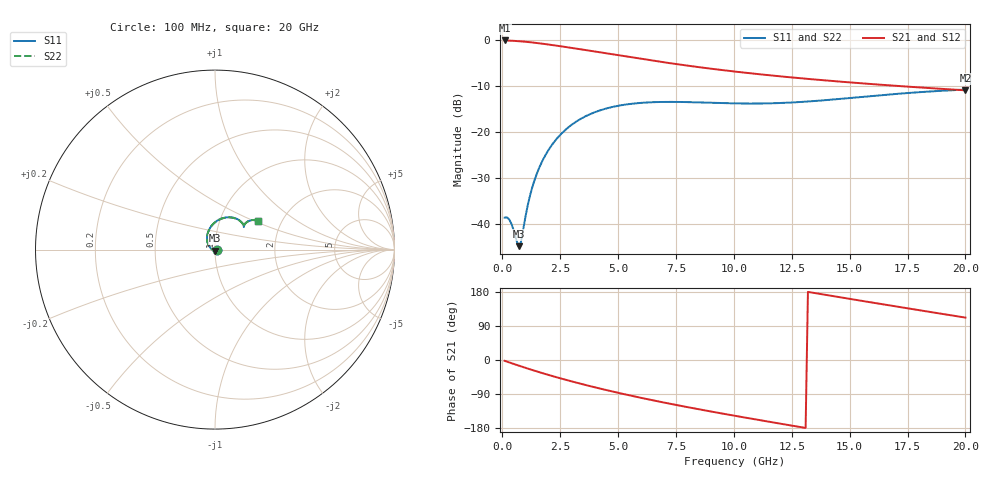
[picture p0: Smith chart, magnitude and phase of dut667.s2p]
! Touchstone file exported from HFSS 2024.1.0
!  File:  C:/UserFiles/LocalFiles/RDL_TSV_Batchsim/temp_RDL_TSV_667_1779813552.aedt
!  Generated:  12:52:07 AM May 27, 2026
!  Design:  RDL_TSV
!  Project:  temp_RDL_TSV_667_1779813552
!  Setup:  Setup1
!  Solution:  Sweep
! Variables:
!  dtsv = 9.35um
!  hbump = 3um
!  htsv = 86.54um
!  ldown = 560.16um
!  lrdl = 492.9um
!  p = 40
!  p1 = 51.1um
!  rhole = 10um
!  subl = 3652.08um
!  t = 450um
!  tdown = 4.83um
!  trdl = 4.31um
!  viad = 10um
!  wdown = 25.45um
!  wrdl = 28.35um
!  xbump = 18um
# GHz S MA R 50.000000
! Terminal data exported
! Port[1] = TM1_1_T1
! Port[2] = TM1_4_T1
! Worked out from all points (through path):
!   200 points, 100 MHz to 20 GHz, reference 50 ohm
!   highest |S21| = -0.11 dB at 100 MHz (marker M1); lowest = -10.9 dB at 20 GHz (marker M2)
!   group delay of S21, straight-line fit = 32.6 ps
!   lowest |S11| = -44.7 dB at 700 MHz (marker M3), VSWR 1.01, Z = 50 - j0.58 ohm
!   |S11| at or under -10 dB: start of sweep to end of sweep
!   |S22| runs from -44.7 to -10.8 dB; largest |S21 - S12| = 2.2e-14
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0.1  0.01181 -2.0  0.9876 -2.2  0.9876 -2.2  0.01181 -2.0
! Gamma 0 0 0 0
! Port Impedance 50 0 50 0
0.2  0.01193 -8.4  0.9856 -4.3  0.9856 -4.3  0.01193 -8.4
0.4  0.01008 -27.2  0.9807 -8.5  0.9807 -8.5  0.0101 -27.2
0.7  0.005803 -90.4  0.9704 -14.7  0.9704 -14.7  0.005818 -90.1
0.8  0.006366 -127.0  0.9661 -16.7  0.9661 -16.7  0.006361 -126.6
1.1  0.01617 177.2  0.9509 -22.7  0.9509 -22.7  0.01611 177.3
1.3  0.0255 162.1  0.9391 -26.5  0.9391 -26.5  0.0254 162.2
1.5  0.0359 151.5  0.9265 -30.3  0.9265 -30.3  0.03577 151.6
1.7  0.04698 142.9  0.9131 -34.1  0.9131 -34.1  0.04681 143.0
2.1  0.07016 128.8  0.885 -41.3  0.885 -41.3  0.06992 128.8
2.5  0.09334 117.0  0.8561 -48.2  0.8561 -48.2  0.09302 117.0
3  0.1206 104.4  0.8197 -56.5  0.8197 -56.5  0.1201 104.4
3.5  0.1445 93.6  0.7839 -64.5  0.7839 -64.5  0.144 93.6
4.3  0.1748 79.1  0.7285 -76.6  0.7285 -76.6  0.1742 79.1
5.2  0.1971 66.1  0.6705 -89.3  0.6705 -89.3  0.1963 66.1
6.8  0.2125 50.1  0.5813 -110.1  0.5813 -110.1  0.2115 50.1
8.4  0.2106 41.3  0.5105 -129.0  0.5105 -129.0  0.2096 41.4
10.1  0.205 38.1  0.4525 -147.8  0.4525 -147.8  0.204 38.2
11.7  0.2059 38.7  0.4101 -164.8  0.4101 -164.8  0.2049 38.9
13.4  0.2168 40.3  0.3743 177.6  0.3743 177.6  0.2159 40.5
16.7  0.256 39.4  0.322 144.3  0.322 144.3  0.2552 39.6
20  0.2895 33.5  0.2845 111.9  0.2845 111.9  0.2888 33.7
